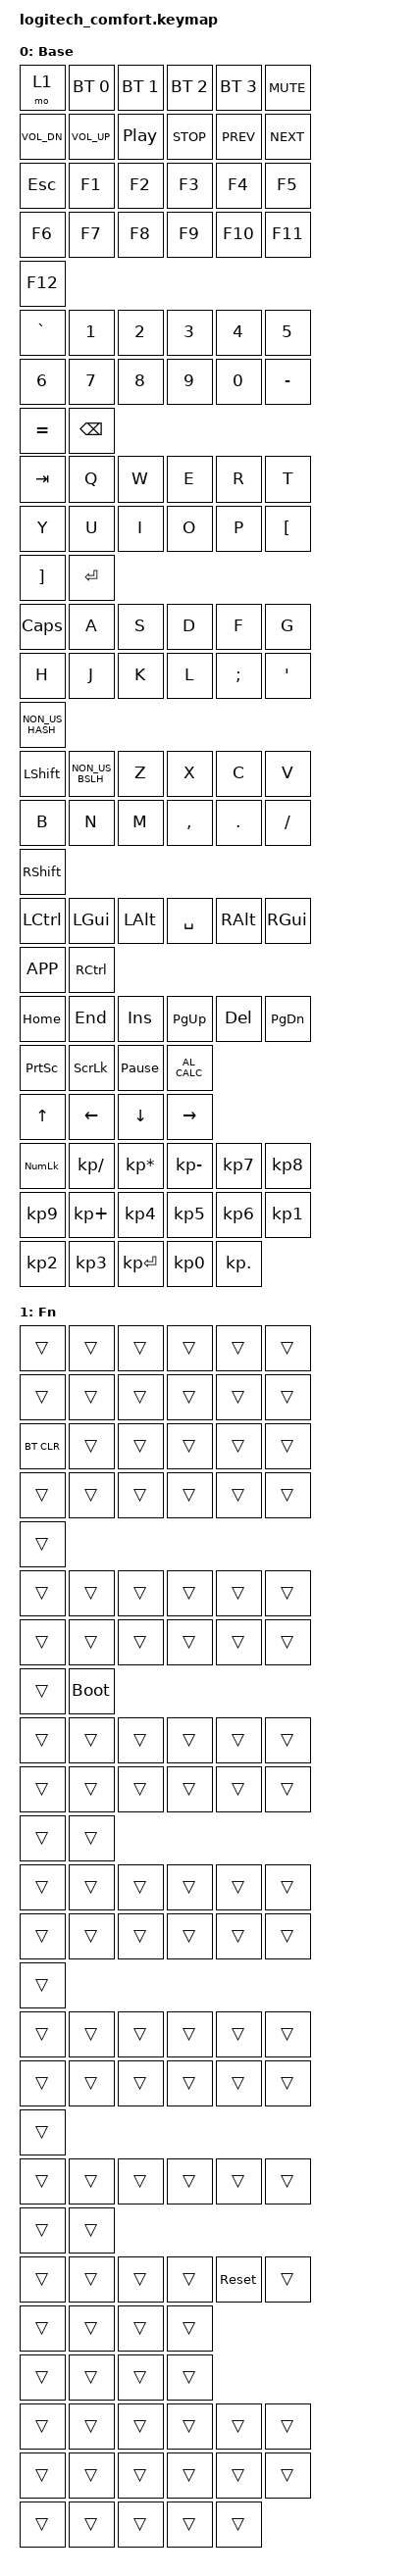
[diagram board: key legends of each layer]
/*
 * Disposition du clavier. Les codes sont ceux d'un clavier standard :
 * avec l'ordinateur réglé en « Français (AZERTY) », chaque touche donne
 * ce qui est imprimé dessus (ex. la touche A envoie le code Q).
 *
 * Preset 1 à 4 -> profils Bluetooth 1 à 4 (un appareil par profil)
 * Touche Veille (lune) maintenue = couche « Fonctions » :
 *   Veille + Echap          -> efface l'appairage du profil Bluetooth actif
 *   Veille + Retour arrière -> mode flash (mise à jour sans ouvrir le clavier)
 *   Veille + Suppr          -> redémarre le clavier
 */

#include <behaviors.dtsi>
#include <dt-bindings/zmk/keys.h>
#include <dt-bindings/zmk/bt.h>

/ {
    keymap {
        compatible = "zmk,keymap";

        base {
            display-name = "Base";
            bindings = <
                /* Touches spéciales (en haut) */
                &mo 1  &bt BT_SEL 0  &bt BT_SEL 1  &bt BT_SEL 2  &bt BT_SEL 3  &kp C_MUTE
                &kp C_VOL_DN  &kp C_VOL_UP  &kp C_PP  &kp C_STOP  &kp C_PREV  &kp C_NEXT
                /* Rangée des fonctions */
                &kp ESC  &kp F1  &kp F2  &kp F3  &kp F4  &kp F5
                &kp F6  &kp F7  &kp F8  &kp F9  &kp F10  &kp F11
                &kp F12
                /* Rangée des chiffres */
                &kp GRAVE  &kp N1  &kp N2  &kp N3  &kp N4  &kp N5
                &kp N6  &kp N7  &kp N8  &kp N9  &kp N0  &kp MINUS
                &kp EQUAL  &kp BSPC
                /* Rangée a z e r t y */
                &kp TAB  &kp Q  &kp W  &kp E  &kp R  &kp T
                &kp Y  &kp U  &kp I  &kp O  &kp P  &kp LBKT
                &kp RBKT  &kp RET
                /* Rangée q s d f g */
                &kp CAPS  &kp A  &kp S  &kp D  &kp F  &kp G
                &kp H  &kp J  &kp K  &kp L  &kp SEMI  &kp SQT
                &kp NON_US_HASH
                /* Rangée w x c v b */
                &kp LSHFT  &kp NON_US_BSLH  &kp Z  &kp X  &kp C  &kp V
                &kp B  &kp N  &kp M  &kp COMMA  &kp DOT  &kp FSLH
                &kp RSHFT
                /* Rangée du bas */
                &kp LCTRL  &kp LGUI  &kp LALT  &kp SPACE  &kp RALT  &kp RGUI
                &kp K_APP  &kp RCTRL
                /* Bloc de navigation */
                &kp HOME  &kp END  &kp INS  &kp PG_UP  &kp DEL  &kp PG_DN
                &kp PSCRN  &kp SLCK  &kp PAUSE_BREAK  &kp C_AL_CALC
                /* Flèches */
                &kp UP  &kp LEFT  &kp DOWN  &kp RIGHT
                /* Pavé numérique */
                &kp KP_NUMLOCK  &kp KP_DIVIDE  &kp KP_MULTIPLY  &kp KP_MINUS  &kp KP_N7  &kp KP_N8
                &kp KP_N9  &kp KP_PLUS  &kp KP_N4  &kp KP_N5  &kp KP_N6  &kp KP_N1
                &kp KP_N2  &kp KP_N3  &kp KP_ENTER  &kp KP_N0  &kp KP_DOT
            >;
        };

        fonctions {
            display-name = "Fn";
            bindings = <
                /* Touches spéciales (en haut) */
                &trans  &trans  &trans  &trans  &trans  &trans
                &trans  &trans  &trans  &trans  &trans  &trans
                /* Rangée des fonctions */
                &bt BT_CLR  &trans  &trans  &trans  &trans  &trans
                &trans  &trans  &trans  &trans  &trans  &trans
                &trans
                /* Rangée des chiffres */
                &trans  &trans  &trans  &trans  &trans  &trans
                &trans  &trans  &trans  &trans  &trans  &trans
                &trans  &bootloader
                /* Rangée a z e r t y */
                &trans  &trans  &trans  &trans  &trans  &trans
                &trans  &trans  &trans  &trans  &trans  &trans
                &trans  &trans
                /* Rangée q s d f g */
                &trans  &trans  &trans  &trans  &trans  &trans
                &trans  &trans  &trans  &trans  &trans  &trans
                &trans
                /* Rangée w x c v b */
                &trans  &trans  &trans  &trans  &trans  &trans
                &trans  &trans  &trans  &trans  &trans  &trans
                &trans
                /* Rangée du bas */
                &trans  &trans  &trans  &trans  &trans  &trans
                &trans  &trans
                /* Bloc de navigation */
                &trans  &trans  &trans  &trans  &sys_reset  &trans
                &trans  &trans  &trans  &trans
                /* Flèches */
                &trans  &trans  &trans  &trans
                /* Pavé numérique */
                &trans  &trans  &trans  &trans  &trans  &trans
                &trans  &trans  &trans  &trans  &trans  &trans
                &trans  &trans  &trans  &trans  &trans
            >;
        };
    };
};
